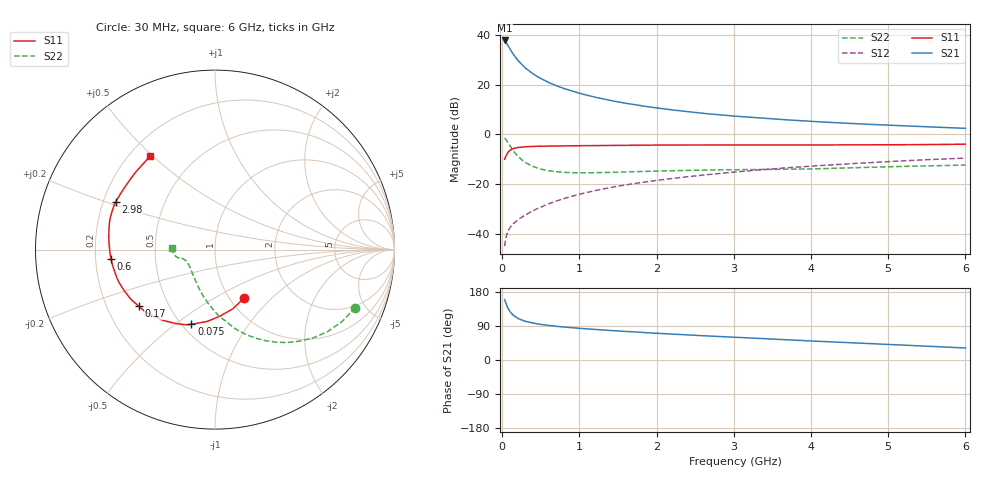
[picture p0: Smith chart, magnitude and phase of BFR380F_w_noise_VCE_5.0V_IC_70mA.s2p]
! Infineon Technologies  Discrete & RF Semiconductors
! BFR380F
! VCE =  5.0 V,  IC =  70 mA
! Common Emitter S-Parameters:  Nov 2015
# GHz  S  MA  R  50
!  f  S11  S21  S12  S22
! GHz  MAG  ANG  MAG  ANG  MAG  ANG  MAG  ANG
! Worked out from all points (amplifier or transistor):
!   206 points, 30 MHz to 6 GHz, reference 50 ohm
!   highest |S21| = 37.7 dB at 30 MHz (marker M1)
!   |S21| within 3 dB of that: start of sweep to 91.43 MHz
!   unconditionally stable (mu >= 1): 755.9 MHz to 4.751 GHz
!   at 200 MHz: K = 0.67, MSG = 32.1 dB, |S12| = -34.4 dB
!   at 1.56 GHz: K = 1.04, MAG = 15.3 dB, |S12| = -20.5 dB
!   at 6 GHz: K = 0.98, MSG = 6.0 dB, |S12| = -9.5 dB
!   lowest NFmin = 1.81 dB at 900 MHz
!   S11 on the Smith chart (normalised r, x): 30 MHz: 1.16, -0.70; 75 MHz: 0.56, -0.57; 170 MHz: 0.34, -0.30; 600 MHz: 0.26, -0.04; 2.98 GHz: 0.25, +0.21; 6 GHz: 0.28, +0.49
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0.03  0.3156 -59.2  76.52 159.4  0.0057 77.4  0.8466 -22.4
0.04  0.3447 -73.3  73.25 153.4  0.0073 72.7  0.8137 -29.5
0.05  0.3724 -85.9  69.77 147.4  0.0087 69.9  0.7759 -36.1
0.06  0.4019 -96.0  65.73 142.7  0.0099 66.4  0.7345 -42.1
0.075  0.4361 -107.6  60.02 136.4  0.0114 63.4  0.6726 -49.9
0.1  0.4753 -121.7  51.43 127.9  0.0135 60.1  0.5818 -60.8
0.12  0.4965 -130.0  45.74 122.8  0.0148 58.6  0.521 -67.8
0.15  0.5217 -139.1  38.91 116.8  0.0165 57.7  0.4488 -76.4
0.17  0.5287 -143.3  35.57 114.4  0.0175 58.1  0.4135 -80.3
0.2  0.5443 -149.4  30.7 109.9  0.0191 58.7  0.3648 -87.4
0.24  0.5529 -154.6  26.36 106.4  0.0211 59.8  0.32 -94.0
0.3  0.5647 -160.8  21.38 101.9  0.0241 62.0  0.2717 -103.2
0.45  0.5753 -169.7  14.56 95.3  0.0321 66.3  0.2117 -119.5
0.6  0.5821 -175.0  11 91.1  0.0403 69.1  0.1863 -131.1
0.8  0.5872 -179.9  8.291 86.9  0.0515 71.2  0.1727 -142.0
1.04  0.5924 175.8  6.416 83.0  0.065 72.3  0.1689 -150.5
2.02  0.6097 163.3  3.356 70.4  0.1201 71.7  0.1831 -163.3
2.98  0.6133 154.4  2.339 60.3  0.1734 68.8  0.1949 -166.3
3.1  0.6126 153.2  2.265 59.2  0.1801 68.2  0.1956 -166.2
4.1  0.6117 143.5  1.786 49.3  0.2356 63.7  0.2041 -166.4
5.1  0.6184 134.4  1.505 40.2  0.2889 58.8  0.2253 -171.5
6  0.6343 124.7  1.319 31.7  0.3337 53.4  0.2416 178.0
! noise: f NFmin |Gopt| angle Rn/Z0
0.45  1.82  0.48  -174  0.08
0.9  1.81  0.5  -171  0.08
1.8  2.07  0.53  -159  0.11
1.9  2.18  0.54  -159  0.11
2.4  2.25  0.55  -150  0.15
3.5  2.95  0.58  -140  0.28
